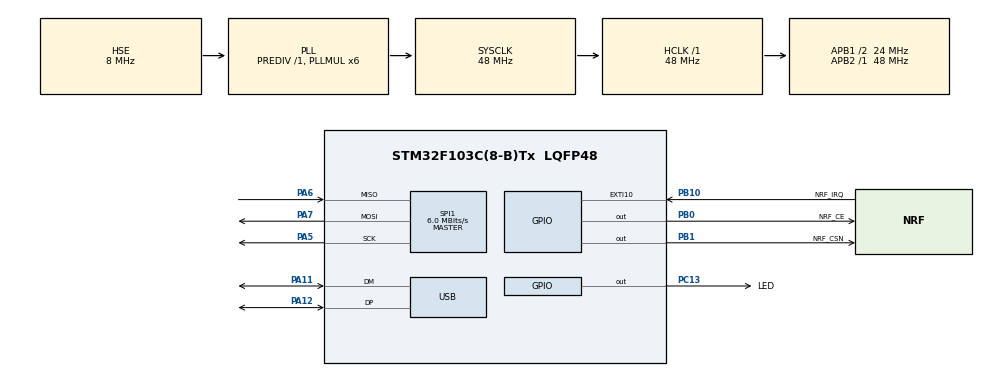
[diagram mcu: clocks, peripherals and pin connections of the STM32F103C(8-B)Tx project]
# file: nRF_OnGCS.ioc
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Mcu.Family=STM32F1
Mcu.Name=STM32F103C(8-B)Tx
Mcu.Package=LQFP48
NVIC.EXTI15_10_IRQn=true\:0\:0\:false\:false\:true\:true\:true
NVIC.PriorityGroup=NVIC_PRIORITYGROUP_4
NVIC.USB_LP_CAN1_RX0_IRQn=true\:0\:0\:false\:false\:true\:false\:true
PA11.Mode=Device
PA11.Signal=USB_DM
PA12.Mode=Device
PA12.Signal=USB_DP
PA13.Mode=Serial_Wire
PA13.Signal=SYS_JTMS-SWDIO
PA14.Mode=Serial_Wire
PA14.Signal=SYS_JTCK-SWCLK
PA5.Mode=Full_Duplex_Master
PA5.Signal=SPI1_SCK
PA6.Mode=Full_Duplex_Master
PA6.Signal=SPI1_MISO
PA7.Mode=Full_Duplex_Master
PA7.Signal=SPI1_MOSI
PB0.GPIO_Label=NRF_CE
PB0.Signal=GPIO_Output
PB1.GPIO_Label=NRF_CSN
PB1.Signal=GPIO_Output
PB10.GPIO_Label=NRF_IRQ
PB10.GPIO_ModeDefaultEXTI=GPIO_MODE_IT_FALLING
PB10.GPIO_PuPd=GPIO_PULLUP
PB10.Signal=GPXTI10
PC13-TAMPER-RTC.GPIO_Label=LED
PC13-TAMPER-RTC.Signal=GPIO_Output
PD0-OSC_IN.Mode=HSE-External-Oscillator
PD0-OSC_IN.Signal=RCC_OSC_IN
PD1-OSC_OUT.Mode=HSE-External-Oscillator
PD1-OSC_OUT.Signal=RCC_OSC_OUT
ProjectManager.HeapSize=0x200
ProjectManager.StackSize=0x400
ProjectManager.TargetToolchain=STM32CubeIDE
RCC.AHBFreq_Value=48000000
RCC.APB1CLKDivider=RCC_HCLK_DIV2
RCC.APB1Freq_Value=24000000
RCC.APB1TimFreq_Value=48000000
RCC.APB2Freq_Value=48000000
RCC.APB2TimFreq_Value=48000000
RCC.HCLKFreq_Value=48000000
RCC.PLLMUL=RCC_PLL_MUL6
RCC.SYSCLKFreq_VALUE=48000000
RCC.SYSCLKSource=RCC_SYSCLKSOURCE_PLLCLK
RCC.USBFreq_Value=48000000
SPI1.BaudRatePrescaler=SPI_BAUDRATEPRESCALER_8
SPI1.CalculateBaudRate=6.0 MBits/s
SPI1.Direction=SPI_DIRECTION_2LINES
SPI1.Mode=SPI_MODE_MASTER
SPI1.VirtualType=VM_MASTER
USB_DEVICE.CLASS_NAME_FS=CDC
USB_DEVICE.VirtualMode=Cdc
USB_DEVICE.VirtualModeFS=Cdc_FS
VP_USB_DEVICE_VS_USB_DEVICE_CDC_FS.Mode=CDC_FS
board=custom

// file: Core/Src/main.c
/* USER CODE BEGIN Header */
/**
  ******************************************************************************
  * @file           : main.c
  * @brief          : Main program body
  ******************************************************************************
  * @attention
  *
  * <h2><center>&copy; Copyright (c) 2021 STMicroelectronics.
  * All rights reserved.</center></h2>
  *
  * This software component is licensed by ST under BSD 3-Clause license,
  * the "License"; You may not use this file except in compliance with the
  * License. You may obtain a copy of the License at:
  *                        opensource.org/licenses/BSD-3-Clause
  *
  ******************************************************************************
  */
/* USER CODE END Header */
#include "main.h"
#include "usb_device.h"

/* USER CODE BEGIN Includes */
#include "usbd_cdc_if.h"		// transmit_cdc fonksiyonu bu dosyada olduğu için
#include "string.h"
#include "AESK_NRF24.h"
#include "AESK_Data_Pack_lib.h"
#include "FlightDatas.h"
/* USER CODE END Includes */

/* USER CODE BEGIN PD */
uint8_t MainBuffer[256];

uint64_t thisNode = 0x11223344BB;
uint64_t base1 = 0x11223344AA;

/* USER CODE END PD */

SPI_HandleTypeDef hspi1;

void SystemClock_Config(void);
static void MX_GPIO_Init(void);
static void MX_SPI1_Init(void);
/* USER CODE BEGIN PFP */
void onReceive(uint8_t * pack, uint16_t len);
/* USER CODE END PFP */

/* USER CODE BEGIN 0 */
int j = 0;
uint8_t BufferLength = 0;
/* USER CODE END 0 */

int main(void)
{

  /* MCU Configuration--------------------------------------------------------*/

  /* Reset of all peripherals, Initializes the Flash interface and the Systick. */
  HAL_Init();

  /* Configure the system clock */
  SystemClock_Config();

  /* Initialize all configured peripherals */
  MX_GPIO_Init();
  MX_SPI1_Init();
  MX_USB_DEVICE_Init();
  /* USER CODE BEGIN 2 */
  AESK_NRF24_DATA_Init(48, thisNode, &onReceive);
  AESK_NRF24_Init(&hspi1, NRF_CSN_GPIO_Port, NRF_CSN_Pin, NRF_CE_Pin);
  /* USER CODE END 2 */

  /* Infinite loop */
  while (1)
  {

  }
}

void SystemClock_Config(void)
{
  RCC_OscInitTypeDef RCC_OscInitStruct = {0};
  RCC_ClkInitTypeDef RCC_ClkInitStruct = {0};
  RCC_PeriphCLKInitTypeDef PeriphClkInit = {0};

  /** Initializes the RCC Oscillators according to the specified parameters
  * in the RCC_OscInitTypeDef structure.
  */
  RCC_OscInitStruct.OscillatorType = RCC_OSCILLATORTYPE_HSE;
  RCC_OscInitStruct.HSEState = RCC_HSE_ON;
  RCC_OscInitStruct.HSEPredivValue = RCC_HSE_PREDIV_DIV1;
  RCC_OscInitStruct.HSIState = RCC_HSI_ON;
  RCC_OscInitStruct.PLL.PLLState = RCC_PLL_ON;
  RCC_OscInitStruct.PLL.PLLSource = RCC_PLLSOURCE_HSE;
  RCC_OscInitStruct.PLL.PLLMUL = RCC_PLL_MUL6;
  if (HAL_RCC_OscConfig(&RCC_OscInitStruct) != HAL_OK)
  {
    Error_Handler();
  }
  /** Initializes the CPU, AHB and APB buses clocks
  */
  RCC_ClkInitStruct.ClockType = RCC_CLOCKTYPE_HCLK|RCC_CLOCKTYPE_SYSCLK
                              |RCC_CLOCKTYPE_PCLK1|RCC_CLOCKTYPE_PCLK2;
  RCC_ClkInitStruct.SYSCLKSource = RCC_SYSCLKSOURCE_PLLCLK;
  RCC_ClkInitStruct.AHBCLKDivider = RCC_SYSCLK_DIV1;
  RCC_ClkInitStruct.APB1CLKDivider = RCC_HCLK_DIV2;
  RCC_ClkInitStruct.APB2CLKDivider = RCC_HCLK_DIV1;

  if (HAL_RCC_ClockConfig(&RCC_ClkInitStruct, FLASH_LATENCY_1) != HAL_OK)
  {
    Error_Handler();
  }
  PeriphClkInit.PeriphClockSelection = RCC_PERIPHCLK_USB;
  PeriphClkInit.UsbClockSelection = RCC_USBCLKSOURCE_PLL;
  if (HAL_RCCEx_PeriphCLKConfig(&PeriphClkInit) != HAL_OK)
  {
    Error_Handler();
  }
}

static void MX_SPI1_Init(void)
{

  /* SPI1 parameter configuration*/
  hspi1.Instance = SPI1;
  hspi1.Init.Mode = SPI_MODE_MASTER;
  hspi1.Init.Direction = SPI_DIRECTION_2LINES;
  hspi1.Init.DataSize = SPI_DATASIZE_8BIT;
  hspi1.Init.CLKPolarity = SPI_POLARITY_LOW;
  hspi1.Init.CLKPhase = SPI_PHASE_1EDGE;
  hspi1.Init.NSS = SPI_NSS_SOFT;
  hspi1.Init.BaudRatePrescaler = SPI_BAUDRATEPRESCALER_8;
  hspi1.Init.FirstBit = SPI_FIRSTBIT_MSB;
  hspi1.Init.TIMode = SPI_TIMODE_DISABLE;
  hspi1.Init.CRCCalculation = SPI_CRCCALCULATION_DISABLE;
  hspi1.Init.CRCPolynomial = 10;
  if (HAL_SPI_Init(&hspi1) != HAL_OK)
  {
    Error_Handler();
  }

}

static void MX_GPIO_Init(void)
{
  GPIO_InitTypeDef GPIO_InitStruct = {0};

  /* GPIO Ports Clock Enable */
  __HAL_RCC_GPIOC_CLK_ENABLE();
  __HAL_RCC_GPIOD_CLK_ENABLE();
  __HAL_RCC_GPIOA_CLK_ENABLE();
  __HAL_RCC_GPIOB_CLK_ENABLE();

  /*Configure GPIO pin Output Level */
  HAL_GPIO_WritePin(LED_GPIO_Port, LED_Pin, GPIO_PIN_RESET);

  /*Configure GPIO pin Output Level */
  HAL_GPIO_WritePin(GPIOB, NRF_CE_Pin|NRF_CSN_Pin, GPIO_PIN_RESET);

  /*Configure GPIO pin : LED_Pin */
  GPIO_InitStruct.Pin = LED_Pin;
  GPIO_InitStruct.Mode = GPIO_MODE_OUTPUT_PP;
  GPIO_InitStruct.Pull = GPIO_NOPULL;
  GPIO_InitStruct.Speed = GPIO_SPEED_FREQ_LOW;
  HAL_GPIO_Init(LED_GPIO_Port, &GPIO_InitStruct);

  /*Configure GPIO pins : NRF_CE_Pin NRF_CSN_Pin */
  GPIO_InitStruct.Pin = NRF_CE_Pin|NRF_CSN_Pin;
  GPIO_InitStruct.Mode = GPIO_MODE_OUTPUT_PP;
  GPIO_InitStruct.Pull = GPIO_NOPULL;
  GPIO_InitStruct.Speed = GPIO_SPEED_FREQ_LOW;
  HAL_GPIO_Init(GPIOB, &GPIO_InitStruct);

  /*Configure GPIO pin : NRF_IRQ_Pin */
  GPIO_InitStruct.Pin = NRF_IRQ_Pin;
  GPIO_InitStruct.Mode = GPIO_MODE_IT_FALLING;
  GPIO_InitStruct.Pull = GPIO_PULLUP;
  HAL_GPIO_Init(NRF_IRQ_GPIO_Port, &GPIO_InitStruct);

  /* EXTI interrupt init*/
  HAL_NVIC_SetPriority(EXTI15_10_IRQn, 0, 0);
  HAL_NVIC_EnableIRQ(EXTI15_10_IRQn);

}

/* USER CODE BEGIN 4 */
void HAL_GPIO_EXTI_Callback(uint16_t GPIO_Pin)
{
	AESK_NRF24_ReadPack();
}
void onReceive(uint8_t * pack, uint16_t len)
{
	CDC_Transmit_FS(pack, len);
}
void CDC_ReceiveCallBack(uint8_t * buf, uint32_t len)
{
	j++;
	BufferLength += len;

	if(len==64)									// Bu senaryoda daha gelecek veri var demektir. (%98.7 ihtimalle)
	{
		memcpy(MainBuffer+(j-1)*64,buf,len);	// Kopyalar geçeriz.
	}
	else										// Bu senaryoda gelen veriler tamamlanmıştır.
	{
		if(j == 1)								// Bu durum sadece Buffer Length paketinde olur.
		{
			memcpy(MainBuffer,buf,len);			// Kopyalar geçeriz
		}
		else									// Bu durum 64'ten büyük paketlerin son bytler'ının alınma anı'dır.
		{
			memcpy(MainBuffer+(j-1)*64,buf,len);// Kopyalar geçeriz.
		}

		j=0;									// Sistem baştan oluşturulur.

		//----------------------Bu kısma kadar CDC'den gelen veriler tek dizide toplandı----------------------//

		AESK_NRF24_WritePack(MainBuffer, BufferLength, base1);

		BufferLength = 0;

		memset(MainBuffer,'\0',256);			// Temizleriz.
	}

}
/* USER CODE END 4 */

void Error_Handler(void)
{
  __disable_irq();
  while (1)
  {
  }
}
